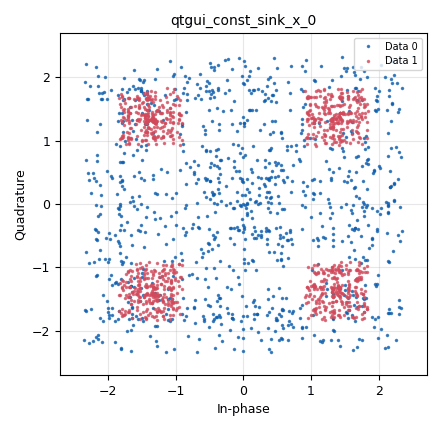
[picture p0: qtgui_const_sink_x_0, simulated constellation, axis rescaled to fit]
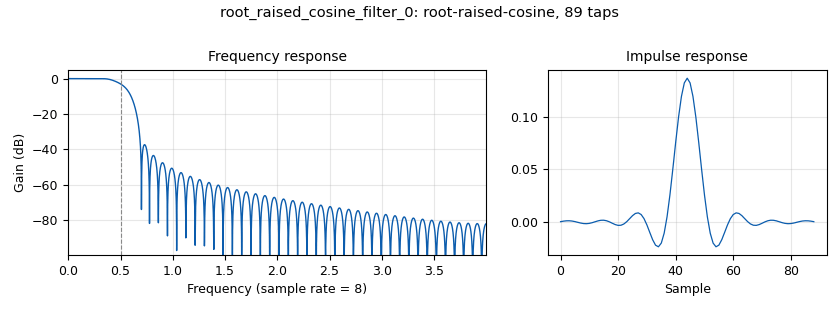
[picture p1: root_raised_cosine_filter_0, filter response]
options:
  parameters:
    generate_options: qt_gui
    id: tone_loopback
    output_language: python
    title: '3.2'
  states: {}

blocks:
- name: Delay
  id: variable_qtgui_range
  parameters:
    label: Delay
    start: '0'
    step: '1'
    stop: '10'
    value: '0'
  states: {}
- name: cons_obj
  id: variable_constellation
  parameters:
    precision: '8'
    type: qpsk
  states: {}
- name: excess_bw
  id: variable
  parameters:
    value: '0.35'
  states: {}
- name: samp_rate
  id: variable
  parameters:
    value: '550000'
  states: {}
- name: sps
  id: variable
  parameters:
    value: '8'
  states: {}
- name: symb_rate
  id: variable
  parameters:
    value: '275000'
  states: {}
- name: analog_random_source_x_0
  id: analog_random_source_x
  parameters:
    max: '256'
    min: '0'
    num_samps: '1000'
    repeat: 'True'
    type: byte
  states: {}
- name: blocks_delay_0_0
  id: blocks_delay
  parameters:
    delay: '4'
    type: complex
  states: {}
- name: blocks_keep_one_in_n_0_0
  id: blocks_keep_one_in_n
  parameters:
    n: sps
    type: complex
  states: {}
- name: blocks_keep_one_in_n_0_0_0
  id: blocks_keep_one_in_n
  parameters:
    n: sps
    type: complex
  states: {}
- name: blocks_multiply_const_vxx_0
  id: blocks_multiply_const_vxx
  parameters:
    const: '0.5'
    type: complex
  states: {}
- name: blocks_multiply_const_vxx_1_0
  id: blocks_multiply_const_vxx
  parameters:
    const: '2'
    type: complex
  states: {}
- name: blocks_multiply_const_vxx_1_0_0
  id: blocks_multiply_const_vxx
  parameters:
    const: '2'
    type: complex
  states: {}
- name: blocks_throttle_0
  id: blocks_throttle
  parameters:
    samples_per_second: samp_rate
    type: complex
  states: {}
- name: digital_constellation_modulator_0
  id: digital_constellation_modulator
  parameters:
    constellation: cons_obj
    differential: 'False'
    excess_bw: excess_bw
    samples_per_symbol: sps
  states: {}
- name: digital_meas_evm_cc_0
  id: digital_meas_evm_cc
  parameters:
    cons: cons_obj
    meas_type: digital.evm_measurement_t.EVM_PERCENT
  states: {}
- name: qtgui_const_sink_x_0
  id: qtgui_const_sink_x
  parameters:
    grid: 'True'
    nconnections: '2'
    size: '1024'
    type: complex
  states: {}
- name: qtgui_number_sink_0
  id: qtgui_number_sink
  parameters:
    avg: '0.01'
    graph_type: qtgui.NUM_GRAPH_HORIZ
    name: '"EVM"'
    type: float
  states: {}
- name: root_raised_cosine_filter_0
  id: root_raised_cosine_filter
  parameters:
    alpha: excess_bw
    decim: '1'
    gain: '1'
    ntaps: 11*sps
    samp_rate: sps
    sym_rate: '1.0'
    type: fir_filter_ccf
  states: {}
- name: virtual_sink_0
  id: virtual_sink
  parameters:
    stream_id: iq
  states: {}
- name: virtual_source_0
  id: virtual_source
  parameters:
    stream_id: iq
  states: {}

connections:
- [analog_random_source_x_0, '0', digital_constellation_modulator_0, '0']
- [blocks_delay_0_0, '0', blocks_keep_one_in_n_0_0, '0']
- [blocks_keep_one_in_n_0_0, '0', blocks_multiply_const_vxx_1_0, '0']
- [blocks_keep_one_in_n_0_0_0, '0', blocks_multiply_const_vxx_1_0_0, '0']
- [blocks_multiply_const_vxx_0, '0', blocks_throttle_0, '0']
- [blocks_multiply_const_vxx_1_0, '0', digital_meas_evm_cc_0, '0']
- [blocks_multiply_const_vxx_1_0, '0', qtgui_const_sink_x_0, '1']
- [blocks_multiply_const_vxx_1_0_0, '0', qtgui_const_sink_x_0, '0']
- [blocks_throttle_0, '0', virtual_sink_0, '0']
- [digital_constellation_modulator_0, '0', blocks_multiply_const_vxx_0, '0']
- [digital_meas_evm_cc_0, '0', qtgui_number_sink_0, '0']
- [root_raised_cosine_filter_0, '0', blocks_delay_0_0, '0']
- [root_raised_cosine_filter_0, '0', blocks_keep_one_in_n_0_0_0, '0']
- [virtual_source_0, '0', root_raised_cosine_filter_0, '0']

metadata:
  file_format: 1
